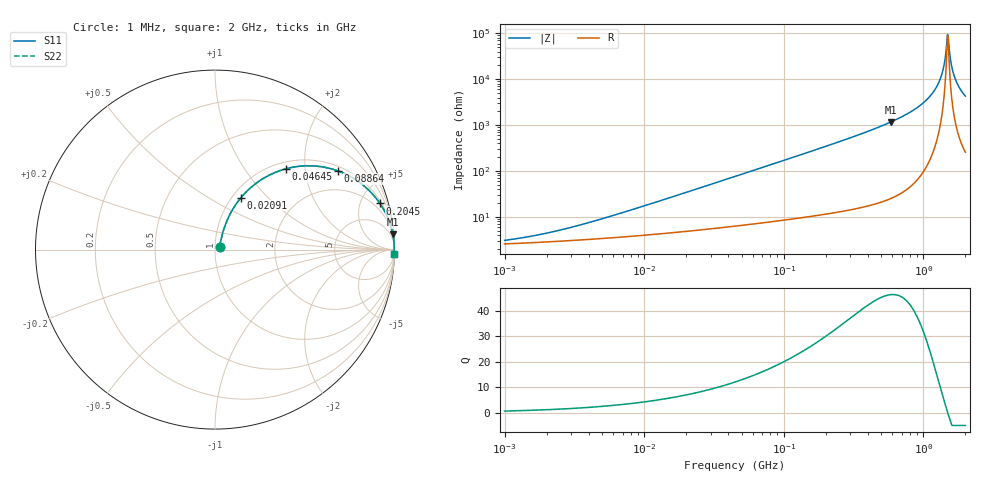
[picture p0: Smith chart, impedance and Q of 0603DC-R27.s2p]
# MHz  S  MA  R  50
!Freq  MagS11  AngS11  MagS21  AngS21  MagS12  AngS12  MagS22  AngS22
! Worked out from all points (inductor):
!   801 points, 1 MHz to 2 GHz, reference 50 ohm
!   read as one part in series: L = 270 nH near 6.317 MHz
!   highest Q = 46.4 at 581.6 MHz (marker M1), where L = 318 nH
!   self-resonance near 1.49 GHz
!   S11 on the Smith chart (normalised r, x): 1 MHz: 1.05, +0.03; 20.91 MHz: 1.10, +0.71; 46.45 MHz: 1.13, +1.58; 88.64 MHz: 1.16, +3.02; 204.5 MHz: 1.23, +7.07; 2 GHz: 6, -86
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1  0.0301 32.4  0.9747 -0.9  0.9747 -0.9  0.0301 32.4
3.572091  0.06613 59.1  0.9677 -3.4  0.9677 -3.4  0.06613 59.1
12.63918  0.2054 67.2  0.9396 -11.6  0.9396 -11.6  0.2054 67.2
20.91279  0.3235 63.4  0.903 -18.7  0.903 -18.7  0.3235 63.4
45.14829  0.5869 49.5  0.763 -35.8  0.763 -35.8  0.5869 49.5
46.45368  0.5976 48.8  0.7551 -36.6  0.7551 -36.6  0.5976 48.8
88.6355  0.8141 32.5  0.5387 -54.4  0.5387 -54.4  0.8141 32.5
159.7488  0.9283 19.8  0.3384 -68.1  0.3384 -68.1  0.9283 19.8
204.513  0.9541 15.6  0.2697 -72.5  0.2697 -72.5  0.9541 15.6
565.2411  0.9941 5.1  0.08883 -83.7  0.08883 -83.7  0.9941 5.1
581.5842  0.9945 4.9  0.08552 -83.9  0.08552 -83.9  0.9945 4.9
891.8577  0.998 2.4  0.04248 -86.1  0.04248 -86.1  0.998 2.4
1163.675  0.9988 1.1  0.01994 -86.1  0.01994 -86.1  0.9988 1.1
1341.918  0.999 0.5  0.008564 -83.0  0.008564 -83.0  0.999 0.5
1393.898  0.999 0.3  0.00559 -79.5  0.00559 -79.5  0.999 0.3
1461.714  0.999 0.1  0.002027 -60.0  0.002027 -60.0  0.999 0.1
1489.756  0.999 0.0  0.001055 -14.2  0.001055 -14.2  0.999 0.0
1532.83  0.999 -0.1  0.002243 62.2  0.002243 62.2  0.999 -0.1
1607.405  0.9989 -0.3  0.005833 79.0  0.005833 79.0  0.9989 -0.3
1685.609  0.9988 -0.5  0.009556 82.6  0.009556 82.6  0.9988 -0.5
1818.725  0.9986 -0.9  0.0156 84.6  0.0156 84.6  0.9986 -0.9
2000  0.9983 -1.3  0.02329 85.2  0.02329 85.2  0.9983 -1.3
